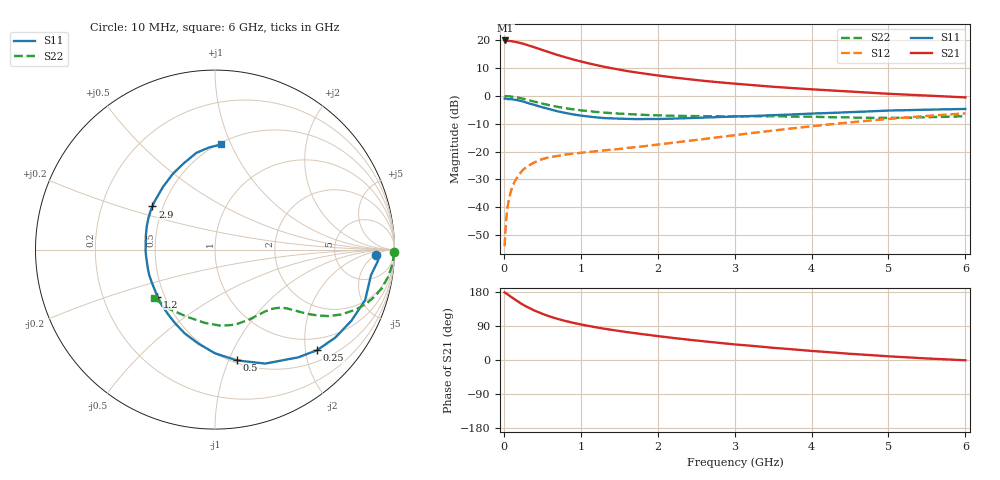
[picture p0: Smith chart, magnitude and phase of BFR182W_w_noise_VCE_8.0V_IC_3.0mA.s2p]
! Infineon Technologies  Discrete & RF Semiconductors
! BFR182W
! VCE =  8.0 V,  IC =  3.0 mA
! Common Emitter S-Parameters:  Jan 2017
# GHz  S  MA  R  50
!  f  S11  S21  S12  S22
! GHz  MAG  ANG  MAG  ANG  MAG  ANG  MAG  ANG
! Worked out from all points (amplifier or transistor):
!   77 points, 10 MHz to 6 GHz, reference 50 ohm
!   highest |S21| = 20.0 dB at 20 MHz (marker M1)
!   |S21| within 3 dB of that: start of sweep to 454.7 MHz
!   unconditionally stable (mu >= 1): 1.596 GHz to 2.997 GHz
!   at 130 MHz: K = 0.11, MSG = 25.5 dB, |S12| = -31.4 dB
!   at 2.2 GHz: K = 1.07, MAG = 10.2 dB, |S12| = -16.8 dB
!   at 6 GHz: K = 0.81, MSG = 2.9 dB, |S12| = -6.2 dB
!   lowest NFmin = 0.82 dB at 450 MHz
!   S11 on the Smith chart (normalised r, x): 10 MHz: 17, -6; 250 MHz: 0.72, -2.24; 500 MHz: 0.52, -1.07; 1.2 GHz: 0.46, -0.29; 2.9 GHz: 0.44, +0.26; 6 GHz: 0.51, +0.92
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0.01  0.9002 -2.0  9.925 178.4  0.002 93.1  1 -0.9
0.02  0.9112 -3.8  9.988 177.3  0.0036 98.7  0.9963 -1.9
0.06  0.8792 -11.2  9.828 171.5  0.0125 81.7  0.9891 -5.3
0.15  0.857 -27.6  9.414 158.9  0.0306 75.6  0.9551 -12.9
0.2  0.8299 -36.3  9.085 152.2  0.0391 71.1  0.9267 -16.4
0.25  0.7983 -44.6  8.743 145.8  0.0473 67.0  0.8948 -19.7
0.3  0.7587 -52.3  8.31 140.2  0.0538 63.5  0.8586 -22.6
0.4  0.6942 -66.2  7.52 130.2  0.0644 57.5  0.7927 -27.1
0.5  0.6292 -78.8  6.731 121.9  0.0736 53.1  0.732 -30.4
0.6  0.5779 -90.0  6.066 114.6  0.0799 50.3  0.6814 -32.6
0.7  0.5312 -100.2  5.468 108.4  0.0838 48.9  0.6394 -34.3
0.8  0.4969 -109.7  4.984 103.0  0.0887 48.0  0.6051 -35.6
0.9  0.4683 -118.0  4.549 98.2  0.092 47.2  0.5771 -36.6
1.1  0.4288 -133.7  3.88 90.0  0.0986 47.6  0.5357 -38.4
1.2  0.4137 -140.8  3.609 86.2  0.1018 47.8  0.5187 -39.2
1.6  0.3885 -164.5  2.823 73.6  0.1163 51.0  0.4757 -43.2
2.1  0.3891 172.3  2.253 60.7  0.1394 55.4  0.446 -50.1
2.9  0.4237 145.4  1.717 43.2  0.19 59.3  0.4332 -64.0
3.1  0.4322 139.9  1.628 39.5  0.2058 59.3  0.432 -67.7
4.1  0.4892 116.7  1.298 22.5  0.2958 55.9  0.4216 -87.7
5.1  0.5522 99.4  1.082 8.6  0.398 47.5  0.4057 -115.8
6  0.5867 86.8  0.946 -0.8  0.4879 37.6  0.4355 -141.7
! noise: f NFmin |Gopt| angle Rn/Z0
0.45  0.82  0.39  31  0.2
0.9  0.95  0.3  57  0.2
1.9  1.6  0.25  149  0.12
2.4  1.92  0.23  170  0.17
